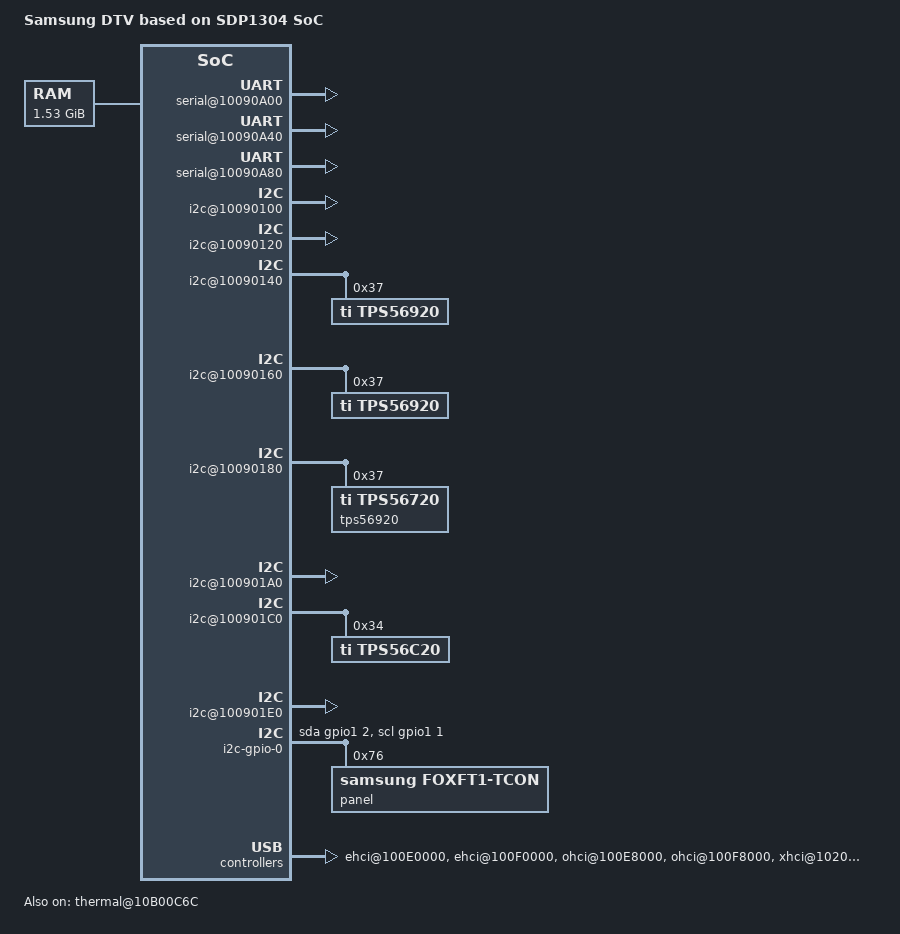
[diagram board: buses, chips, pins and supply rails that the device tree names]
/*
 * Copyright (C) 2013 Samsung Electronics Co.Ltd
 *
 * This program is free software; you can redistribute it and/or modify
 * it under the terms of the GNU General Public License version 2 as
 * published by the Free Software Foundation.
 */

/dts-v1/;
#include "sdp1304.dtsi"

/ {
	model = "Samsung DTV based on SDP1304 SoC";
	compatible = "samsung,dtv", "samsung,sdp1304", "samsung,golf-us";

	memory {
		reg =  <0x9E000000 0x62000000>;
	};

	chosen {
/*		bootargs = "console=ttyS0,115200N8 initrd=0x80800000,8M root=/dev/ram0 rootfstype=squashfs rw rootwait earlyprintk";*/
		bootargs = "console=ttyS0,115200N8 root=/dev/mmcblk0p3 rootfstype=squashfs rootwait earlyprintk";
	};

	fixed-rate-clocks {
		fin {
			compatible = "samsung,sdp-clock-fin";
			clock-frequency = <24000000>;
		};
	};

	/* for dma330 */
	golf-us {
		status = "okay";
		amba {
			dma330@1C660000 {
				status = "okay";
			};
		};
	};

	ethernet@100D0000 {
		phy_sel_reg = <0x10088000 0x1 0x1>;		/* select RGMII for eval board*/
	};

	serial@10090A00 {
		status = "okay";
	};

	serial@10090A40 {
		status = "okay";
	};

	serial@10090A80 {
		status = "okay";
	};

	pinctrl{
		compatible = "samsung,sdp-pinctrl";
		reg = <0x10B00C00 0x24c>,
			<0x18090C00 0x260>,
			 <0x1a090C00 0x260>,
			 <0x1D590C00 0x210>;
			 
		start-offset = <0x98 0x16c 0x16c 0x1a4>;
		nr-banks = <15 20 20 6>;	
		model-sel = <1 1 0 1>;	
	};
	
	i2c@10090100 {
		status = "okay";
		samsung,i2c-sda-delay = <1>;
		samsung,i2c-max-bus-freq = <400000>;
		samsung,i2c-irq-status-reg = <0x100901F4>;
		samsung,i2c-cpu-affinity = <3>;
	};

	i2c@10090120 {
		status = "okay";
		samsung,i2c-sda-delay = <1>;
		samsung,i2c-max-bus-freq = <400000>;
		samsung,i2c-irq-status-reg = <0x100901F4>;
		samsung,i2c-cpu-affinity = <3>;
	};

	i2c@10090140 { 
		status = "okay";
		samsung,i2c-sda-delay = <1>;
		samsung,i2c-max-bus-freq = <400000>;
		samsung,i2c-irq-status-reg = <0x100901F4>;
		samsung,i2c-cpu-affinity = <3>;

		tps56920@37 {
			compatible = "ti,tps56920";
			reg = <0x37>;

			regulator-name = "CPU_PW";
			regulator-min-microvolt = <600000>;
			regulator-max-microvolt = <1870000>;
			regulator-always-on;
			regulator-boot-on;

			default_volt = <1270000>;
		};
	};

	i2c@10090160 {
		status = "okay";
		samsung,i2c-sda-delay = <1>;
		samsung,i2c-max-bus-freq = <400000>;
		samsung,i2c-irq-status-reg = <0x100901F4>;
		samsung,i2c-cpu-affinity = <3>;

		tps56920@37 {
			compatible = "ti,tps56920";
			reg = <0x37>;

			regulator-name = "GPU_PW";
			regulator-min-microvolt = <600000>;
			regulator-max-microvolt = <1870000>;
			regulator-always-on;
			regulator-boot-on;
			
			default_volt = <1100000>;
		};
	};

	i2c@10090180 {
		status = "okay";
		samsung,i2c-sda-delay = <1>;
		samsung,i2c-max-bus-freq = <400000>;
		samsung,i2c-irq-status-reg = <0x100901F4>;
		samsung,i2c-cpu-affinity = <3>;

			tps56920@37 {
			compatible = "ti,tps56720";
			reg = <0x37>;

			regulator-name = "MP0_PW";
			regulator-min-microvolt = <600000>;
			regulator-max-microvolt = <1870000>;
			regulator-always-on;
			regulator-boot-on;

			default_volt = <1200000>;
		};
	};

	i2c@100901A0 {
		status = "okay";
		samsung,i2c-sda-delay = <1>;
		samsung,i2c-max-bus-freq = <400000>;
		samsung,i2c-irq-status-reg = <0x100901F4>;
		samsung,i2c-cpu-affinity = <3>;
	};

	i2c@100901C0 {
		status = "okay";
		samsung,i2c-sda-delay = <1>;
		samsung,i2c-max-bus-freq = <400000>;
		samsung,i2c-irq-status-reg = <0x100901F4>;
		samsung,i2c-pad-enable = <0x10B00C40 0x8000>;
		samsung,i2c-cpu-affinity = <3>;

/*
		tps56920@37 {
			compatible = "ti,tps56720";
			reg = <0x37>;

			regulator-name = "MP1_PW";
			regulator-min-microvolt = <600000>;
			regulator-max-microvolt = <1870000>;
			regulator-always-on;
			regulator-boot-on;

			default_volt = <1100000>;
		};
*/

		tps56c20@34 {
			compatible = "ti,tps56c20";
			reg = <0x34>;

			regulator-name = "US_PW";
			regulator-min-microvolt = <600000>;
			regulator-max-microvolt = <1870000>;
			regulator-always-on;
			regulator-boot-on;

			default_volt = <1100000>;
		};
	};

	i2c@100901E0 {
		status = "okay";
		samsung,i2c-sda-delay = <1>;
		samsung,i2c-max-bus-freq = <400000>;
		samsung,i2c-irq-status-reg = <0x100901F4>;
		samsung,i2c-pad-enable = <0x10B00C40 0x10000>;
		samsung,i2c-cpu-affinity = <3>;

	};

	i2c-gpio-0 {
		compatible = "i2c-gpio";
		gpios = <&gpio1 2 0>, <&gpio1 1 0>;
		#address-cells = <1>;
		#size-cells = <0>;

		panel@76 {
			compatible = "samsung,foxft1-tcon";
			reg = <0x76>;
		};
	};

	dummy_panel {
		compatible = "dummy_panel";

		display-timings {
			native-mode = <&timing0>;

			timing0: timing-0 {
				 clock-frequency = <0>;
				 hactive = <1920>;
				 vactive = <1080>;
				 hfront-porch = <0>;
				 hback-porch = <0>;
				 hsync-len = <0>;
				 vfront-porch = <0>;
				 vback-porch = <0>;
				 vsync-len = <0>;
			};
		};
	};

	ehci@100E0000 {
		status = "okay";
/*		
		samsung,sw-reset = <0x10B00000 0x954 0x1>;
		samsung,ehci-gpr_reg = <0x100FC000 0x00 0xE05A>;
		samsung,ehci-gpr_reg1 = <0x100FC000 0x04 0x5000>;
		samsung,sw-reset-release = <0x10B00000 0x954 0x1>;
*/
	};

	ehci@100F0000 {
		status = "okay";
/*		
		samsung,sw-reset = <0x10B00000 0x954 0x2>;
		samsung,ehci-gpr_reg = <0x100FC000 0x14 0xE05A>;
		samsung,ehci-gpr_reg1 = <0x100FC000 0x18 0x5000>;
		samsung,sw-reset-release = <0x10B00000 0x954 0x2>;
*/
	};

	ohci@100E8000 {
		status = "okay";
	};

	ohci@100F8000 {
		status = "okay";
	};

	xhci@10200000 {
		status = "okay";
	};

	thermal@10B00C6C {
		status = "okay";
		compatible = "samsung,sdp-thermal";

		reg = <0x10B00C6C 0x100>;

		sensor_id = <0>;

		start_cold_throttle	= <40>;
		stop_cold_throttle	= <45>;
		stop_1st_throttle	= <102>;
		start_1st_throttle	= <110>;
		stop_2nd_throttle	= <112>;
		start_2nd_throttle	= <118>;
		stop_3rd_throttle	= <120>;
		start_3rd_throttle	= <125>;
		start_3rd_hotplug	= <130>;

		cpu_limit_1st_throttle	= <1000000>;
		cpu_limit_2nd_throttle	= <600000>;
		cpu_limit_3rd_throttle	= <100000>;

		gpu_limit_1st_throttle	= <200000>;
		gpu_limit_2nd_throttle	= <200000>;
		gpu_limit_3rd_throttle	= <50000>;

		log_file_path = "/rwarea/ThermalThrottle.txt";
	};
	
	dwc3@0x10100000 {
		status = "okay";
		dwc3_mode = "device";
	};
	
	extint@0x1D591000 {
		status = "okay";
	};
};
